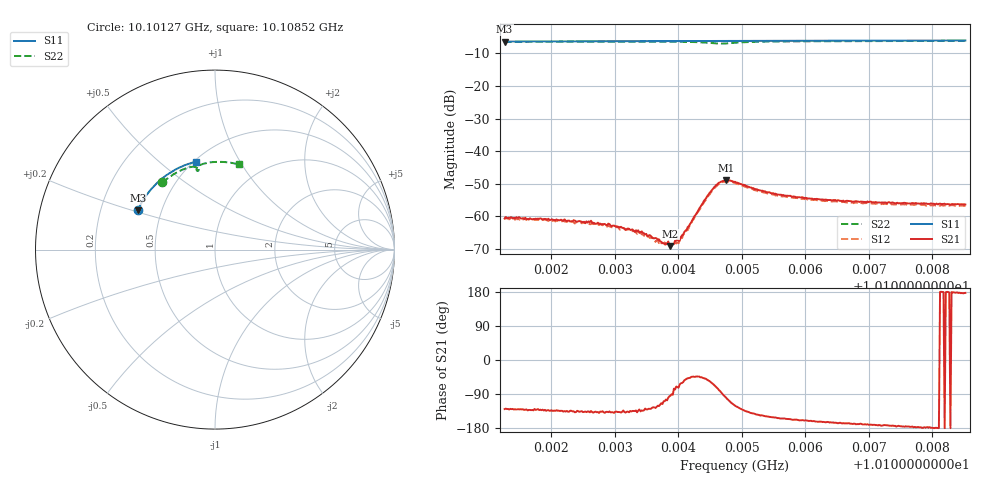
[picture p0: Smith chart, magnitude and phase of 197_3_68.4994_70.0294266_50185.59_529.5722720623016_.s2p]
#  HZ  S  RI  R  50.00
! Rohde & Schwarz Vector Network Analyzer
! Rohde-Schwarz,ZNB20-2Port,1311601062101988,3.16
! Created: UTC 3/20/2024, 4:57:22 PM
! freq[Hz]  re:S11  im:S11  re:S21  im:S21  re:S12  im:S12  re:S22  im:S22
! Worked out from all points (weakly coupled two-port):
!   401 points, 10.10127 GHz to 10.10852 GHz, reference 50 ohm
!   highest |S21| = -48.92 dB at 10.10475 GHz (marker M1); lowest = -69.2 dB at 10.10388 GHz (marker M2)
!   lowest |S11| = -6.3 dB at 10.10127 GHz (marker M3), VSWR 2.87, Z = 18.3 + j10.4 ohm
!   |S11| at or under -10 dB: nowhere
!   |S22| runs from -7.0 to -6.1 dB; largest |S21 - S12| = 0.00036
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1.0101269e10  -0.4304 0.2184  -0.000585 -0.000712  -0.00053 -0.000754  -0.2925 0.3746
1.0101867e10  -0.4144 0.2514  -0.000578 -0.000661  -0.000569 -0.000696  -0.262 0.3986
1.0102483e10  -0.3954 0.2836  -0.000583 -0.00058  -0.000513 -0.000587  -0.2284 0.4209
1.0102827e10  -0.3837 0.3009  -0.000561 -0.00051  -0.000481 -0.000565  -0.2085 0.4321
1.0103263e10  -0.3679 0.3222  -0.000445 -0.000431  -0.000379 -0.000449  -0.1821 0.4446
1.0103462e10  -0.3603 0.3316  -0.00037 -0.000402  -0.000304 -0.000401  -0.1693 0.45
1.0103698e10  -0.3509 0.3423  -0.000232 -0.000376  -0.000141 -0.000362  -0.1535 0.4555
1.0103752e10  -0.3486 0.3448  -0.000171 -0.000348  -0.000141 -0.000361  -0.1499 0.4566
1.0103879e10  -0.3435 0.3505  -2.5e-05 -0.000348  5.96e-06 -0.000347  -0.1405 0.4589
1.0103897e10  -0.3427 0.3513  -1.85e-06 -0.000356  2.67e-05 -0.000346  -0.1393 0.4593
1.0103969e10  -0.3395 0.3545  0.000143 -0.000395  0.000123 -0.000376  -0.1338 0.4603
1.0104024e10  -0.3373 0.3569  0.000181 -0.000381  0.000216 -0.000378  -0.1297 0.4611
1.0104169e10  -0.3312 0.3631  0.000478 -0.000522  0.000497 -0.000456  -0.1177 0.4618
1.0104441e10  -0.3193 0.3745  0.00122 -0.00146  0.00129 -0.00129  -0.095 0.4543
1.010455e10  -0.3143 0.379  0.0012 -0.00239  0.00134 -0.00219  -0.0904 0.4458
1.0104658e10  -0.3093 0.3832  0.000469 -0.00329  0.0007 -0.00314  -0.0939 0.4387
1.0104749e10  -0.3055 0.3867  -0.000539 -0.00354  -0.00021 -0.00342  -0.1002 0.4398
1.0104894e10  -0.2989 0.3925  -0.00169 -0.00292  -0.00138 -0.00293  -0.1026 0.451
1.010542e10  -0.2738 0.4121  -0.00201 -0.00118  -0.0018 -0.00129  -0.0695 0.4768
1.0106108e10  -0.239 0.4352  -0.00177 -0.000591  -0.00164 -0.000752  -0.0218 0.4864
1.0107323e10  -0.1732 0.468  -0.00163 -0.000195  -0.00151 -0.000312  0.058 0.4875
1.0108519e10  -0.1046 0.4904  -0.00151 7.54e-05  -0.00145 -5.8e-05  0.1337 0.475
